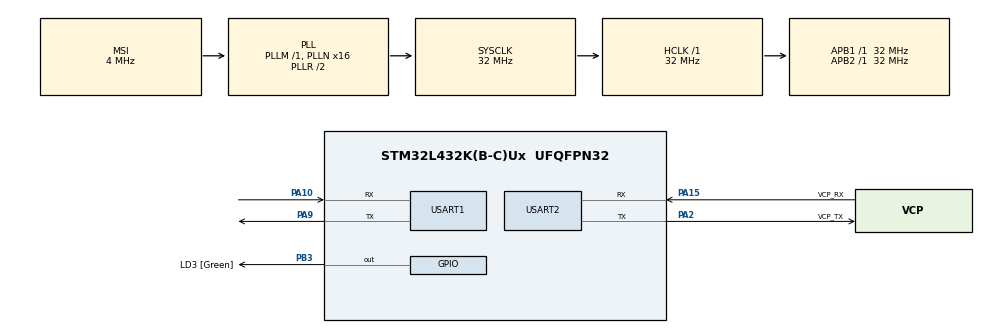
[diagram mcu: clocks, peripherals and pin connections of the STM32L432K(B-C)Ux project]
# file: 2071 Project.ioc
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Mcu.Family=STM32L4
Mcu.Name=STM32L432K(B-C)Ux
Mcu.Package=UFQFPN32
NVIC.PriorityGroup=NVIC_PRIORITYGROUP_4
PA0.GPIO_Label=MCO [High speed clock in]
PA0.Mode=HSE-External-Clock-Source-for-LittleOrca
PA0.Signal=RCC_CK_IN
PA10.Mode=Asynchronous
PA10.Signal=USART1_RX
PA13\ (JTMS-SWDIO).GPIO_Label=SWDIO
PA13\ (JTMS-SWDIO).Mode=Serial_Wire
PA13\ (JTMS-SWDIO).Signal=SYS_JTMS-SWDIO
PA14\ (JTCK-SWCLK).GPIO_Label=SWCLK
PA14\ (JTCK-SWCLK).Mode=Serial_Wire
PA14\ (JTCK-SWCLK).Signal=SYS_JTCK-SWCLK
PA15\ (JTDI).GPIO_Label=VCP_RX
PA15\ (JTDI).Mode=Asynchronous
PA15\ (JTDI).Signal=USART2_RX
PA2.GPIO_Label=VCP_TX
PA2.Mode=Asynchronous
PA2.Signal=USART2_TX
PA9.Mode=Asynchronous
PA9.Signal=USART1_TX
PB3\ (JTDO-TRACESWO).GPIO_Label=LD3 [Green]
PB3\ (JTDO-TRACESWO).Signal=GPIO_Output
PC14-OSC32_IN\ (PC14).Mode=LSE-External-Oscillator
PC14-OSC32_IN\ (PC14).Signal=RCC_OSC32_IN
PC15-OSC32_OUT\ (PC15).Mode=LSE-External-Oscillator
PC15-OSC32_OUT\ (PC15).Signal=RCC_OSC32_OUT
ProjectManager.HeapSize=0x200
ProjectManager.StackSize=0x400
ProjectManager.TargetToolchain=STM32CubeIDE
RCC.AHBFreq_Value=32000000
RCC.APB1Freq_Value=32000000
RCC.APB1TimFreq_Value=32000000
RCC.APB2Freq_Value=32000000
RCC.APB2TimFreq_Value=32000000
RCC.CortexFreq_Value=32000000
RCC.HCLKFreq_Value=32000000
RCC.HSE_VALUE=8000000
RCC.HSI16_VALUE=16000000
RCC.HSI48_VALUE=48000000
RCC.HSI_VALUE=16000000
RCC.MSI_VALUE=4000000
RCC.PLLMUL=RCC_PLLMUL_4
RCC.PLLN=16
RCC.SYSCLKFreq_VALUE=32000000
RCC.SYSCLKSource=RCC_SYSCLKSOURCE_PLLCLK
RCC.VCOOutputFreq_Value=64000000
USART1.VirtualMode-Asynchronous=VM_ASYNC
USART2.VirtualMode-Asynchronous=VM_ASYNC
board=NUCLEO-L432KC

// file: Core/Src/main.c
/* USER CODE BEGIN Header */
/**
  ******************************************************************************
  * @file           : main.c
  * @brief          : Main program body
  ******************************************************************************
  * @attention
  *
  * Copyright (c) 2026 STMicroelectronics.
  * All rights reserved.
  *
  * This software is licensed under terms that can be found in the LICENSE file
  * in the root directory of this software component.
  * If no LICENSE file comes with this software, it is provided AS-IS.
  *
  ******************************************************************************
  */
/* USER CODE END Header */
#include "main.h"
#include "stdbool.h"
#include "stdio.h"

UART_HandleTypeDef huart1;
UART_HandleTypeDef huart2;

void SystemClock_Config(void);
static void MX_GPIO_Init(void);
static void MX_USART2_UART_Init(void);
static void MX_USART1_UART_Init(void);

int main(void)
{

  /* MCU Configuration--------------------------------------------------------*/

  /* Reset of all peripherals, Initializes the Flash interface and the Systick. */
  HAL_Init();

  /* Configure the system clock */
  SystemClock_Config();

  /* Initialize all configured peripherals */
  MX_GPIO_Init();
  MX_USART2_UART_Init();
  MX_USART1_UART_Init();
  /* USER CODE BEGIN 2 */

  uint8_t msg;
  uint8_t received;
  bool head = true;
  char buffer[6];

  HAL_GPIO_WritePin(LD3_GPIO_Port, LD3_Pin,0);

  /* USER CODE END 2 */

  /* Infinite loop */
  /* USER CODE BEGIN WHILE */
  while (1)
  {
	  if (head){
		  msg = (uint8_t
				  )6;
		  HAL_UART_Transmit(&huart1, &msg, 1, HAL_MAX_DELAY);
		  HAL_UART_Receive(&huart1, &received, 1, HAL_MAX_DELAY);
		  HAL_GPIO_WritePin(LD3_GPIO_Port, LD3_Pin,1);
		  HAL_Delay(250);
		  msg = received;
		  sprintf(buffer,"%u\r\n",msg);
		  HAL_UART_Transmit(&huart2, buffer, 4, HAL_MAX_DELAY);
		  HAL_GPIO_WritePin(LD3_GPIO_Port, LD3_Pin,0);
		  continue;
	  }

	  HAL_UART_Receive(&huart1, &received, 1, HAL_MAX_DELAY);
	  HAL_GPIO_WritePin(LD3_GPIO_Port, LD3_Pin,1);
	  HAL_Delay(250);
	  msg = received;
	  HAL_UART_Transmit(&huart1, &msg, 1, HAL_MAX_DELAY);
	  HAL_GPIO_WritePin(LD3_GPIO_Port, LD3_Pin,0);

    /* USER CODE END WHILE */

  }
}

void SystemClock_Config(void)
{
  RCC_OscInitTypeDef RCC_OscInitStruct = {0};
  RCC_ClkInitTypeDef RCC_ClkInitStruct = {0};

  /** Configure the main internal regulator output voltage
  */
  if (HAL_PWREx_ControlVoltageScaling(PWR_REGULATOR_VOLTAGE_SCALE1) != HAL_OK)
  {
    Error_Handler();
  }

  /** Configure LSE Drive Capability
  */
  HAL_PWR_EnableBkUpAccess();
  __HAL_RCC_LSEDRIVE_CONFIG(RCC_LSEDRIVE_LOW);

  /** Initializes the RCC Oscillators according to the specified parameters
  * in the RCC_OscInitTypeDef structure.
  */
  RCC_OscInitStruct.OscillatorType = RCC_OSCILLATORTYPE_LSE|RCC_OSCILLATORTYPE_MSI;
  RCC_OscInitStruct.LSEState = RCC_LSE_ON;
  RCC_OscInitStruct.MSIState = RCC_MSI_ON;
  RCC_OscInitStruct.MSICalibrationValue = 0;
  RCC_OscInitStruct.MSIClockRange = RCC_MSIRANGE_6;
  RCC_OscInitStruct.PLL.PLLState = RCC_PLL_ON;
  RCC_OscInitStruct.PLL.PLLSource = RCC_PLLSOURCE_MSI;
  RCC_OscInitStruct.PLL.PLLM = 1;
  RCC_OscInitStruct.PLL.PLLN = 16;
  RCC_OscInitStruct.PLL.PLLP = RCC_PLLP_DIV7;
  RCC_OscInitStruct.PLL.PLLQ = RCC_PLLQ_DIV2;
  RCC_OscInitStruct.PLL.PLLR = RCC_PLLR_DIV2;
  if (HAL_RCC_OscConfig(&RCC_OscInitStruct) != HAL_OK)
  {
    Error_Handler();
  }

  /** Initializes the CPU, AHB and APB buses clocks
  */
  RCC_ClkInitStruct.ClockType = RCC_CLOCKTYPE_HCLK|RCC_CLOCKTYPE_SYSCLK
                              |RCC_CLOCKTYPE_PCLK1|RCC_CLOCKTYPE_PCLK2;
  RCC_ClkInitStruct.SYSCLKSource = RCC_SYSCLKSOURCE_PLLCLK;
  RCC_ClkInitStruct.AHBCLKDivider = RCC_SYSCLK_DIV1;
  RCC_ClkInitStruct.APB1CLKDivider = RCC_HCLK_DIV1;
  RCC_ClkInitStruct.APB2CLKDivider = RCC_HCLK_DIV1;

  if (HAL_RCC_ClockConfig(&RCC_ClkInitStruct, FLASH_LATENCY_1) != HAL_OK)
  {
    Error_Handler();
  }

  /** Enable MSI Auto calibration
  */
  HAL_RCCEx_EnableMSIPLLMode();
}

static void MX_USART1_UART_Init(void)
{

  huart1.Instance = USART1;
  huart1.Init.BaudRate = 115200;
  huart1.Init.WordLength = UART_WORDLENGTH_8B;
  huart1.Init.StopBits = UART_STOPBITS_1;
  huart1.Init.Parity = UART_PARITY_NONE;
  huart1.Init.Mode = UART_MODE_TX_RX;
  huart1.Init.HwFlowCtl = UART_HWCONTROL_NONE;
  huart1.Init.OverSampling = UART_OVERSAMPLING_16;
  huart1.Init.OneBitSampling = UART_ONE_BIT_SAMPLE_DISABLE;
  huart1.AdvancedInit.AdvFeatureInit = UART_ADVFEATURE_NO_INIT;
  if (HAL_UART_Init(&huart1) != HAL_OK)
  {
    Error_Handler();
  }

}

static void MX_USART2_UART_Init(void)
{

  huart2.Instance = USART2;
  huart2.Init.BaudRate = 115200;
  huart2.Init.WordLength = UART_WORDLENGTH_8B;
  huart2.Init.StopBits = UART_STOPBITS_1;
  huart2.Init.Parity = UART_PARITY_NONE;
  huart2.Init.Mode = UART_MODE_TX_RX;
  huart2.Init.HwFlowCtl = UART_HWCONTROL_NONE;
  huart2.Init.OverSampling = UART_OVERSAMPLING_16;
  huart2.Init.OneBitSampling = UART_ONE_BIT_SAMPLE_DISABLE;
  huart2.AdvancedInit.AdvFeatureInit = UART_ADVFEATURE_NO_INIT;
  if (HAL_UART_Init(&huart2) != HAL_OK)
  {
    Error_Handler();
  }

}

static void MX_GPIO_Init(void)
{
  GPIO_InitTypeDef GPIO_InitStruct = {0};

  /* GPIO Ports Clock Enable */
  __HAL_RCC_GPIOC_CLK_ENABLE();
  __HAL_RCC_GPIOA_CLK_ENABLE();
  __HAL_RCC_GPIOB_CLK_ENABLE();

  /*Configure GPIO pin Output Level */
  HAL_GPIO_WritePin(LD3_GPIO_Port, LD3_Pin, GPIO_PIN_RESET);

  /*Configure GPIO pin : LD3_Pin */
  GPIO_InitStruct.Pin = LD3_Pin;
  GPIO_InitStruct.Mode = GPIO_MODE_OUTPUT_PP;
  GPIO_InitStruct.Pull = GPIO_NOPULL;
  GPIO_InitStruct.Speed = GPIO_SPEED_FREQ_LOW;
  HAL_GPIO_Init(LD3_GPIO_Port, &GPIO_InitStruct);

}

void Error_Handler(void)
{
  __disable_irq();
  while (1)
  {
  }
}
